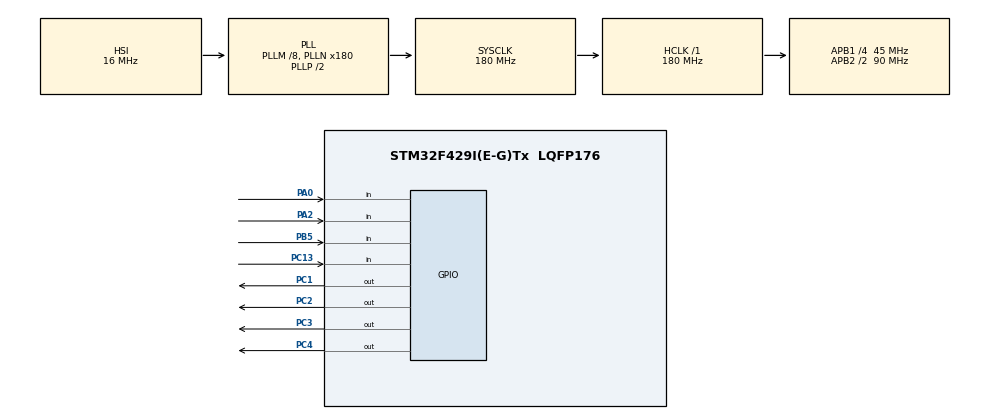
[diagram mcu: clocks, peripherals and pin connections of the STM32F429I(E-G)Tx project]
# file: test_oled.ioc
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Mcu.Family=STM32F4
Mcu.Name=STM32F429I(E-G)Tx
Mcu.Package=LQFP176
NVIC.PriorityGroup=NVIC_PRIORITYGROUP_4
PA0/WKUP.Signal=GPIO_Input
PA2.Signal=GPIO_Input
PB5.Signal=GPIO_Input
PC1.Signal=GPIO_Output
PC13.Signal=GPIO_Input
PC2.Signal=GPIO_Output
PC3.Signal=GPIO_Output
PC4.Signal=GPIO_Output
PH0/OSC_IN.Mode=HSE-External-Oscillator
PH0/OSC_IN.Signal=RCC_OSC_IN
PH1/OSC_OUT.Mode=HSE-External-Oscillator
PH1/OSC_OUT.Signal=RCC_OSC_OUT
ProjectManager.HeapSize=0x200
ProjectManager.StackSize=0x400
ProjectManager.TargetToolchain=MDK-ARM V5.32
RCC.48MHZClocksFreq_Value=90000000
RCC.AHBFreq_Value=180000000
RCC.APB1CLKDivider=RCC_HCLK_DIV4
RCC.APB1Freq_Value=45000000
RCC.APB1TimFreq_Value=90000000
RCC.APB2CLKDivider=RCC_HCLK_DIV2
RCC.APB2Freq_Value=90000000
RCC.APB2TimFreq_Value=180000000
RCC.CortexFreq_Value=180000000
RCC.HCLKFreq_Value=180000000
RCC.HSE_VALUE=25000000
RCC.HSI_VALUE=16000000
RCC.LSE_VALUE=32768
RCC.PLLM=8
RCC.PLLN=180
RCC.SYSCLKFreq_VALUE=180000000
RCC.SYSCLKSource=RCC_SYSCLKSOURCE_PLLCLK
RCC.VCOOutputFreq_Value=360000000
TIM7.Period=1
TIM7.Prescaler=89
VP_TIM7_VS_ClockSourceINT.Mode=Enable_Timer
board=custom

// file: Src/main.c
/* USER CODE BEGIN Header */
/**
  ******************************************************************************
  * @file           : main.c
  * @brief          : Main program body
  ******************************************************************************
  * @attention
  *
  * <h2><center>&copy; Copyright (c) 2024 STMicroelectronics.
  * All rights reserved.</center></h2>
  *
  * This software component is licensed by ST under BSD 3-Clause license,
  * the "License"; You may not use this file except in compliance with the
  * License. You may obtain a copy of the License at:
  *                        opensource.org/licenses/BSD-3-Clause
  *
  ******************************************************************************
  */
/* USER CODE END Header */
#include "main.h"
#include "tim.h"
#include "gpio.h"

/* USER CODE BEGIN Includes */
#include "stdio.h"
#include "oled.h"
#include "i2c_hal.h"
/* USER CODE END Includes */

void SystemClock_Config(void);

int main(void)
{

  /* MCU Configuration--------------------------------------------------------*/

  /* Reset of all peripherals, Initializes the Flash interface and the Systick. */
  HAL_Init();

  /* Configure the system clock */
  SystemClock_Config();

  /* Initialize all configured peripherals */
  MX_GPIO_Init();
  MX_TIM7_Init();
  /* USER CODE BEGIN 2 */
  IIC_Init();
  OLED_Init();

  OLED_Clear();

	OLED_ShowString(0,0, (uint8_t *)"Hello World!", 15);
	OLED_ShowString(0,10, (uint8_t *)"Festival Happy!", 15);
	OLED_ShowString(0,12, (uint8_t *)"Weekend Happy!", 15);
	OLED_ShowString(0,14, (uint8_t *)"Week Happy!", 15);
	unsigned char L1_flag = 0;
	unsigned char L2_flag = 0;
  /* USER CODE END 2 */

  /* Infinite loop */
  /* USER CODE BEGIN WHILE */
  while (1)
  {
		HAL_Delay(100);
		if(HAL_GPIO_ReadPin(GPIOA,GPIO_PIN_0) == 0)
		{
			if(L1_flag == 0)
			{
				HAL_GPIO_WritePin(GPIOC,GPIO_PIN_1,1);
				OLED_ShowString(0,0, (uint8_t *)"LED1:ON       ", 15);
				L1_flag = 1;
			}
			else if(L1_flag == 1)
			{
				HAL_GPIO_WritePin(GPIOC,GPIO_PIN_1,0);
				OLED_ShowString(0,0, (uint8_t *)"LED1:OFF       ", 15);
				L1_flag = 0;
			}
		}
		if(HAL_GPIO_ReadPin(GPIOC,GPIO_PIN_13) == 0)
		{
			if(L2_flag == 0)
			{
				HAL_GPIO_WritePin(GPIOC,GPIO_PIN_2,1);
				OLED_ShowString(0,10, (uint8_t *)"LED2:ON       ", 15);
				L2_flag = 1;
			}
			else if(L2_flag == 1)
			{
				HAL_GPIO_WritePin(GPIOC,GPIO_PIN_2,0);
				OLED_ShowString(0,10, (uint8_t *)"LED2:OFF       ", 15);
				L2_flag = 0;
			}
		}

    /* USER CODE END WHILE */

  }
}

void SystemClock_Config(void)
{
  RCC_OscInitTypeDef RCC_OscInitStruct = {0};
  RCC_ClkInitTypeDef RCC_ClkInitStruct = {0};

  /** Configure the main internal regulator output voltage
  */
  __HAL_RCC_PWR_CLK_ENABLE();
  __HAL_PWR_VOLTAGESCALING_CONFIG(PWR_REGULATOR_VOLTAGE_SCALE1);

  /** Initializes the RCC Oscillators according to the specified parameters
  * in the RCC_OscInitTypeDef structure.
  */
  RCC_OscInitStruct.OscillatorType = RCC_OSCILLATORTYPE_HSI;
  RCC_OscInitStruct.HSIState = RCC_HSI_ON;
  RCC_OscInitStruct.HSICalibrationValue = RCC_HSICALIBRATION_DEFAULT;
  RCC_OscInitStruct.PLL.PLLState = RCC_PLL_ON;
  RCC_OscInitStruct.PLL.PLLSource = RCC_PLLSOURCE_HSI;
  RCC_OscInitStruct.PLL.PLLM = 8;
  RCC_OscInitStruct.PLL.PLLN = 180;
  RCC_OscInitStruct.PLL.PLLP = RCC_PLLP_DIV2;
  RCC_OscInitStruct.PLL.PLLQ = 4;
  if (HAL_RCC_OscConfig(&RCC_OscInitStruct) != HAL_OK)
  {
    Error_Handler();
  }

  /** Activate the Over-Drive mode
  */
  if (HAL_PWREx_EnableOverDrive() != HAL_OK)
  {
    Error_Handler();
  }

  /** Initializes the CPU, AHB and APB buses clocks
  */
  RCC_ClkInitStruct.ClockType = RCC_CLOCKTYPE_HCLK|RCC_CLOCKTYPE_SYSCLK
                              |RCC_CLOCKTYPE_PCLK1|RCC_CLOCKTYPE_PCLK2;
  RCC_ClkInitStruct.SYSCLKSource = RCC_SYSCLKSOURCE_PLLCLK;
  RCC_ClkInitStruct.AHBCLKDivider = RCC_SYSCLK_DIV1;
  RCC_ClkInitStruct.APB1CLKDivider = RCC_HCLK_DIV4;
  RCC_ClkInitStruct.APB2CLKDivider = RCC_HCLK_DIV2;

  if (HAL_RCC_ClockConfig(&RCC_ClkInitStruct, FLASH_LATENCY_5) != HAL_OK)
  {
    Error_Handler();
  }
}

void Error_Handler(void)
{
}
